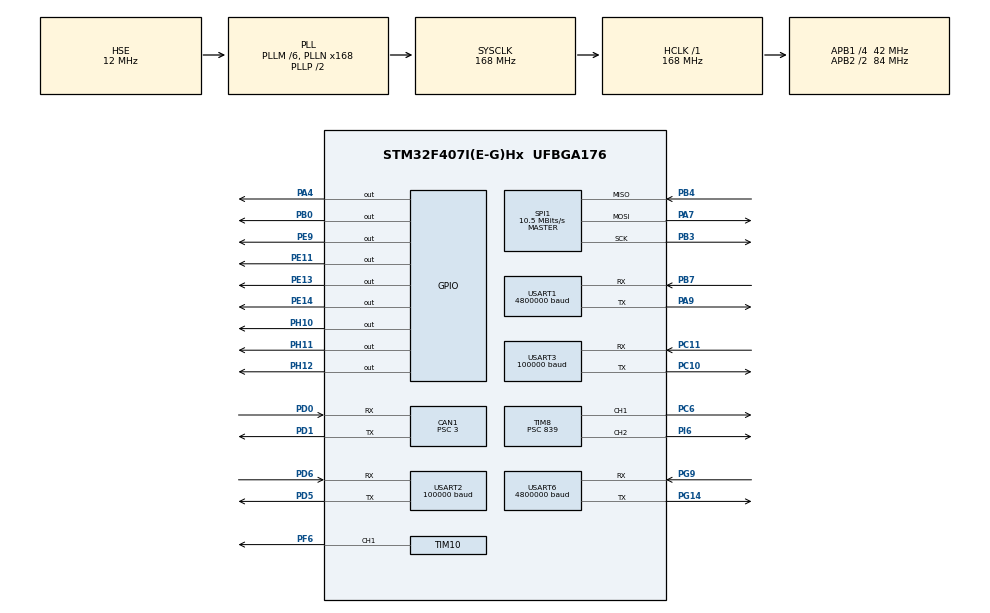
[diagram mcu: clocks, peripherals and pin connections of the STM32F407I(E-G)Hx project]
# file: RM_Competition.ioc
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CAN1.BS1=CAN_BS1_10TQ
CAN1.BS2=CAN_BS2_3TQ
CAN1.CalculateBaudRate=1000000
CAN1.CalculateTimeBit=1000
CAN1.CalculateTimeQuantum=71.42857142857143
CAN1.Prescaler=3
CAN1.SJW=CAN_SJW_2TQ
Dma.Request0=USART3_RX
Dma.Request1=USART2_RX
Dma.Request2=USART2_TX
Dma.Request3=USART1_RX
Dma.Request4=USART1_TX
Dma.Request5=USART6_RX
Dma.Request6=USART6_TX
Dma.Request7=SPI1_RX
Dma.Request8=SPI1_TX
Dma.SPI1_RX.7.Direction=DMA_PERIPH_TO_MEMORY
Dma.SPI1_RX.7.FIFOMode=DMA_FIFOMODE_DISABLE
Dma.SPI1_RX.7.Instance=DMA2_Stream2
Dma.SPI1_RX.7.MemDataAlignment=DMA_MDATAALIGN_BYTE
Dma.SPI1_RX.7.MemInc=DMA_MINC_ENABLE
Dma.SPI1_RX.7.Mode=DMA_NORMAL
Dma.SPI1_RX.7.PeriphDataAlignment=DMA_PDATAALIGN_BYTE
Dma.SPI1_RX.7.PeriphInc=DMA_PINC_DISABLE
Dma.SPI1_RX.7.Priority=DMA_PRIORITY_VERY_HIGH
Dma.SPI1_TX.8.Direction=DMA_MEMORY_TO_PERIPH
Dma.SPI1_TX.8.FIFOMode=DMA_FIFOMODE_DISABLE
Dma.SPI1_TX.8.Instance=DMA2_Stream3
Dma.SPI1_TX.8.MemDataAlignment=DMA_MDATAALIGN_BYTE
Dma.SPI1_TX.8.MemInc=DMA_MINC_ENABLE
Dma.SPI1_TX.8.Mode=DMA_NORMAL
Dma.SPI1_TX.8.PeriphDataAlignment=DMA_PDATAALIGN_BYTE
Dma.SPI1_TX.8.PeriphInc=DMA_PINC_DISABLE
Dma.SPI1_TX.8.Priority=DMA_PRIORITY_HIGH
Dma.USART1_RX.3.Direction=DMA_PERIPH_TO_MEMORY
Dma.USART1_RX.3.FIFOMode=DMA_FIFOMODE_DISABLE
Dma.USART1_RX.3.Instance=DMA2_Stream5
Dma.USART1_RX.3.MemDataAlignment=DMA_MDATAALIGN_BYTE
Dma.USART1_RX.3.MemInc=DMA_MINC_ENABLE
Dma.USART1_RX.3.Mode=DMA_NORMAL
Dma.USART1_RX.3.PeriphDataAlignment=DMA_PDATAALIGN_BYTE
Dma.USART1_RX.3.PeriphInc=DMA_PINC_DISABLE
Dma.USART1_RX.3.Priority=DMA_PRIORITY_LOW
Dma.USART1_TX.4.Direction=DMA_MEMORY_TO_PERIPH
Dma.USART1_TX.4.FIFOMode=DMA_FIFOMODE_DISABLE
Dma.USART1_TX.4.Instance=DMA2_Stream7
Dma.USART1_TX.4.MemDataAlignment=DMA_MDATAALIGN_BYTE
Dma.USART1_TX.4.MemInc=DMA_MINC_ENABLE
Dma.USART1_TX.4.Mode=DMA_NORMAL
Dma.USART1_TX.4.PeriphDataAlignment=DMA_PDATAALIGN_BYTE
Dma.USART1_TX.4.PeriphInc=DMA_PINC_DISABLE
Dma.USART1_TX.4.Priority=DMA_PRIORITY_MEDIUM
Dma.USART2_RX.1.Direction=DMA_PERIPH_TO_MEMORY
Dma.USART2_RX.1.FIFOMode=DMA_FIFOMODE_DISABLE
Dma.USART2_RX.1.Instance=DMA1_Stream5
Dma.USART2_RX.1.MemDataAlignment=DMA_MDATAALIGN_BYTE
Dma.USART2_RX.1.MemInc=DMA_MINC_ENABLE
Dma.USART2_RX.1.Mode=DMA_NORMAL
Dma.USART2_RX.1.PeriphDataAlignment=DMA_PDATAALIGN_BYTE
Dma.USART2_RX.1.PeriphInc=DMA_PINC_DISABLE
Dma.USART2_RX.1.Priority=DMA_PRIORITY_LOW
Dma.USART2_TX.2.Direction=DMA_MEMORY_TO_PERIPH
Dma.USART2_TX.2.FIFOMode=DMA_FIFOMODE_DISABLE
Dma.USART2_TX.2.Instance=DMA1_Stream6
Dma.USART2_TX.2.MemDataAlignment=DMA_MDATAALIGN_BYTE
Dma.USART2_TX.2.MemInc=DMA_MINC_ENABLE
Dma.USART2_TX.2.Mode=DMA_NORMAL
Dma.USART2_TX.2.PeriphDataAlignment=DMA_PDATAALIGN_BYTE
Dma.USART2_TX.2.PeriphInc=DMA_PINC_DISABLE
Dma.USART2_TX.2.Priority=DMA_PRIORITY_LOW
Dma.USART3_RX.0.Direction=DMA_PERIPH_TO_MEMORY
Dma.USART3_RX.0.FIFOMode=DMA_FIFOMODE_DISABLE
Dma.USART3_RX.0.Instance=DMA1_Stream1
Dma.USART3_RX.0.MemDataAlignment=DMA_MDATAALIGN_BYTE
Dma.USART3_RX.0.MemInc=DMA_MINC_ENABLE
Dma.USART3_RX.0.Mode=DMA_CIRCULAR
Dma.USART3_RX.0.PeriphDataAlignment=DMA_PDATAALIGN_BYTE
Dma.USART3_RX.0.PeriphInc=DMA_PINC_DISABLE
Dma.USART3_RX.0.Priority=DMA_PRIORITY_VERY_HIGH
Dma.USART6_RX.5.Direction=DMA_PERIPH_TO_MEMORY
Dma.USART6_RX.5.FIFOMode=DMA_FIFOMODE_DISABLE
Dma.USART6_RX.5.Instance=DMA2_Stream1
Dma.USART6_RX.5.MemDataAlignment=DMA_MDATAALIGN_BYTE
Dma.USART6_RX.5.MemInc=DMA_MINC_ENABLE
Dma.USART6_RX.5.Mode=DMA_NORMAL
Dma.USART6_RX.5.PeriphDataAlignment=DMA_PDATAALIGN_BYTE
Dma.USART6_RX.5.PeriphInc=DMA_PINC_DISABLE
Dma.USART6_RX.5.Priority=DMA_PRIORITY_LOW
Dma.USART6_TX.6.Direction=DMA_MEMORY_TO_PERIPH
Dma.USART6_TX.6.FIFOMode=DMA_FIFOMODE_DISABLE
Dma.USART6_TX.6.Instance=DMA2_Stream6
Dma.USART6_TX.6.MemDataAlignment=DMA_MDATAALIGN_BYTE
Dma.USART6_TX.6.MemInc=DMA_MINC_ENABLE
Dma.USART6_TX.6.Mode=DMA_NORMAL
Dma.USART6_TX.6.PeriphDataAlignment=DMA_PDATAALIGN_BYTE
Dma.USART6_TX.6.PeriphInc=DMA_PINC_DISABLE
Dma.USART6_TX.6.Priority=DMA_PRIORITY_MEDIUM
FREERTOS.BinarySemaphores01=DBUS_Sem,Dynamic,NULL,Available;CAN_Sem,Dynamic,NULL,Available;Shift_Sem,Dynamic,NULL,Available;Outage_Sem,Dynamic,NULL,Available;Chassis_Sem,Dynamic,NULL,Available;Pitch_Sem,Dynamic,NULL,Available
FREERTOS.Tasks01=defaultTask,24,128,StartDefaultTask,Default,NULL,Dynamic,NULL,NULL;DBUSTasK,8,128,StartDBUSTask,Default,NULL,Dynamic,NULL,NULL;CANTask,8,128,StartCANTask,Default,NULL,Dynamic,NULL,NULL;PIDTask,8,1024,StartPIDTask,Default,NULL,Dynamic,NULL,NULL;ShiftTask,8,128,StartShiftTask,Default,NULL,Dynamic,NULL,NULL;ChassisTask,8,128,StartChassisTask,Default,NULL,Dynamic,NULL,NULL;PitchTask,8,128,StartPitchTask,Default,NULL,Dynamic,NULL,NULL;OutageTask,8,128,StartOutageTask,Default,NULL,Dynamic,NULL,NULL;LEDTask,8,128,StartLEDTask,Default,NULL,Dynamic,NULL,NULL;IMUTask,8,1024,StartIMUTask,Default,NULL,Dynamic,NULL,NULL;SlideTask,8,128,StartSlideTask,Default,NULL,Dynamic,NULL,NULL;LiftTask,8,128,StartLiftTask,Default,NULL,Dynamic,NULL,NULL;DoorTask,8,128,StartDoorTask,Default,NULL,Dynamic,NULL,NULL
FREERTOS.configTOTAL_HEAP_SIZE=92160
FREERTOS.configUSE_NEWLIB_REENTRANT=1
Mcu.Family=STM32F4
Mcu.Name=STM32F407I(E-G)Hx
Mcu.Package=UFBGA176
NVIC.CAN1_RX0_IRQn=true\:5\:0\:false\:false\:true\:true\:true\:true\:true
NVIC.DMA1_Stream1_IRQn=true\:5\:0\:false\:false\:true\:true\:false\:true\:true
NVIC.DMA1_Stream5_IRQn=true\:5\:0\:false\:false\:true\:true\:false\:true\:true
NVIC.DMA1_Stream6_IRQn=true\:5\:0\:false\:false\:true\:true\:false\:true\:true
NVIC.DMA2_Stream1_IRQn=true\:5\:0\:false\:false\:true\:true\:false\:true\:true
NVIC.DMA2_Stream2_IRQn=true\:5\:0\:false\:false\:true\:false\:false\:true\:true
NVIC.DMA2_Stream3_IRQn=true\:5\:0\:false\:false\:true\:true\:false\:true\:true
NVIC.DMA2_Stream5_IRQn=true\:5\:0\:false\:false\:true\:false\:false\:true\:true
NVIC.DMA2_Stream6_IRQn=true\:5\:0\:false\:false\:true\:true\:false\:true\:true
NVIC.DMA2_Stream7_IRQn=true\:5\:0\:false\:false\:true\:true\:false\:true\:true
NVIC.PriorityGroup=NVIC_PRIORITYGROUP_4
NVIC.SPI1_IRQn=true\:5\:0\:false\:false\:true\:true\:true\:true\:true
NVIC.TIM7_IRQn=true\:15\:0\:false\:false\:true\:false\:false\:true\:true
NVIC.TimeBase=TIM7_IRQn
NVIC.TimeBaseIP=TIM7
NVIC.USART1_IRQn=true\:5\:0\:false\:false\:true\:true\:true\:true\:true
NVIC.USART2_IRQn=true\:5\:0\:false\:false\:true\:true\:true\:true\:true
NVIC.USART3_IRQn=true\:5\:0\:false\:false\:true\:true\:true\:true\:true
NVIC.USART6_IRQn=true\:5\:0\:false\:false\:true\:true\:true\:true\:true
PA13.Mode=Serial_Wire
PA13.Signal=SYS_JTMS-SWDIO
PA14.Mode=Serial_Wire
PA14.Signal=SYS_JTCK-SWCLK
PA4.PinState=GPIO_PIN_SET
PA4.Signal=GPIO_Output
PA7.GPIO_PuPd=GPIO_PULLUP
PA7.Mode=Full_Duplex_Master
PA7.Signal=SPI1_MOSI
PA9.Mode=Asynchronous
PA9.Signal=USART1_TX
PB0.PinState=GPIO_PIN_SET
PB0.Signal=GPIO_Output
PB3.GPIO_PuPd=GPIO_PULLUP
PB3.Mode=Full_Duplex_Master
PB3.Signal=SPI1_SCK
PB4.GPIO_PuPd=GPIO_PULLUP
PB4.Mode=Full_Duplex_Master
PB4.Signal=SPI1_MISO
PB7.Mode=Asynchronous
PB7.Signal=USART1_RX
PC10.Mode=Asynchronous
PC10.Signal=USART3_TX
PC11.Mode=Asynchronous
PC11.Signal=USART3_RX
PC6.GPIO_PuPd=GPIO_PULLUP
PC6.GPIO_Speed=GPIO_SPEED_FREQ_VERY_HIGH
PC6.Signal=S_TIM8_CH1
PD0.Mode=CAN_Activate
PD0.Signal=CAN1_RX
PD1.Mode=CAN_Activate
PD1.Signal=CAN1_TX
PD5.Mode=Asynchronous
PD5.Signal=USART2_TX
PD6.Mode=Asynchronous
PD6.Signal=USART2_RX
PE11.PinState=GPIO_PIN_SET
PE11.Signal=GPIO_Output
PE13.Signal=GPIO_Output
PE14.Signal=GPIO_Output
PE9.Signal=GPIO_Output
PF6.GPIO_PuPd=GPIO_PULLUP
PF6.GPIO_Speed=GPIO_SPEED_FREQ_HIGH
PF6.Signal=S_TIM10_CH1
PG14.Mode=Asynchronous
PG14.Signal=USART6_TX
PG9.Mode=Asynchronous
PG9.Signal=USART6_RX
PH0-OSC_IN.Mode=HSE-External-Oscillator
PH0-OSC_IN.Signal=RCC_OSC_IN
PH1-OSC_OUT.Mode=HSE-External-Oscillator
PH1-OSC_OUT.Signal=RCC_OSC_OUT
PH10.PinState=GPIO_PIN_SET
PH10.Signal=GPIO_Output
PH11.PinState=GPIO_PIN_SET
PH11.Signal=GPIO_Output
PH12.PinState=GPIO_PIN_SET
PH12.Signal=GPIO_Output
PI6.Signal=S_TIM8_CH2
ProjectManager.HeapSize=0x200
ProjectManager.StackSize=0x400
ProjectManager.TargetToolchain=STM32CubeIDE
RCC.48MHZClocksFreq_Value=84000000
RCC.AHBFreq_Value=168000000
RCC.APB1CLKDivider=RCC_HCLK_DIV4
RCC.APB1Freq_Value=42000000
RCC.APB1TimFreq_Value=84000000
RCC.APB2CLKDivider=RCC_HCLK_DIV2
RCC.APB2Freq_Value=84000000
RCC.APB2TimFreq_Value=168000000
RCC.CortexFreq_Value=168000000
RCC.HCLKFreq_Value=168000000
RCC.HSE_VALUE=12000000
RCC.HSI_VALUE=16000000
RCC.LSE_VALUE=32768
RCC.PLLM=6
RCC.PLLN=168
RCC.PLLSourceVirtual=RCC_PLLSOURCE_HSE
RCC.SYSCLKFreq_VALUE=168000000
RCC.SYSCLKSource=RCC_SYSCLKSOURCE_PLLCLK
RCC.VCOOutputFreq_Value=336000000
SH.S_TIM10_CH1.0=TIM10_CH1,PWM Generation1 CH1
SH.S_TIM8_CH1.0=TIM8_CH1,PWM Generation1 CH1
SH.S_TIM8_CH2.0=TIM8_CH2,PWM Generation2 CH2
SPI1.BaudRatePrescaler=SPI_BAUDRATEPRESCALER_8
SPI1.CLKPhase=SPI_PHASE_2EDGE
SPI1.CLKPolarity=SPI_POLARITY_HIGH
SPI1.CalculateBaudRate=10.5 MBits/s
SPI1.Direction=SPI_DIRECTION_2LINES
SPI1.Mode=SPI_MODE_MASTER
SPI1.VirtualType=VM_MASTER
TIM10.Channel=TIM_CHANNEL_1
TIM10.Period=1999
TIM10.Prescaler=83
TIM8.AutoReloadPreload=TIM_AUTORELOAD_PRELOAD_DISABLE
TIM8.Channel-PWM\ Generation1\ CH1=TIM_CHANNEL_1
TIM8.Channel-PWM\ Generation2\ CH2=TIM_CHANNEL_2
TIM8.CounterMode=TIM_COUNTERMODE_UP
TIM8.Period=9999
TIM8.Prescaler=839
TIM8.Pulse-PWM\ Generation1\ CH1=0
TIM8.Pulse-PWM\ Generation2\ CH2=0
USART1.BaudRate=4800000
USART1.VirtualMode=VM_ASYNC
USART2.BaudRate=100000
USART2.Parity=PARITY_EVEN
USART2.VirtualMode=VM_ASYNC
USART2.WordLength=WORDLENGTH_9B
USART3.BaudRate=100000
USART3.Parity=PARITY_EVEN
USART3.VirtualMode=VM_ASYNC
USART3.WordLength=WORDLENGTH_9B
USART6.BaudRate=4800000
USART6.VirtualMode=VM_ASYNC
VP_FREERTOS_VS_CMSIS_V2.Mode=CMSIS_V2
VP_SYS_VS_tim7.Mode=TIM7
VP_TIM10_VS_ClockSourceINT.Mode=Enable_Timer
VP_TIM8_VS_ClockSourceINT.Mode=Internal
board=custom

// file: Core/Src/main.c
/* USER CODE BEGIN Header */
/**
  ******************************************************************************
  * @file           : main.c
  * @brief          : Main program body
  ******************************************************************************
  * @attention
  *
  * Copyright (c) 2024 STMicroelectronics.
  * All rights reserved.
  *
  * This software is licensed under terms that can be found in the LICENSE file
  * in the root directory of this software component.
  * If no LICENSE file comes with this software, it is provided AS-IS.
  *
  ******************************************************************************
  */
/* USER CODE END Header */
#include "main.h"
#include "cmsis_os.h"
#include "can.h"
#include "dma.h"
#include "spi.h"
#include "tim.h"
#include "usart.h"
#include "gpio.h"

void SystemClock_Config(void);
void MX_FREERTOS_Init(void);

int main(void)
{

  /* MCU Configuration--------------------------------------------------------*/

  /* Reset of all peripherals, Initializes the Flash interface and the Systick. */
  HAL_Init();

  /* Configure the system clock */
  SystemClock_Config();

  /* Initialize all configured peripherals */
  MX_GPIO_Init();
  MX_DMA_Init();
  MX_USART3_UART_Init();
  MX_USART2_UART_Init();
  MX_CAN1_Init();
  MX_TIM8_Init();
  MX_USART1_UART_Init();
  MX_USART6_UART_Init();
  MX_SPI1_Init();
  MX_TIM10_Init();

  /* Init scheduler */
  osKernelInitialize();

  /* Call init function for freertos objects (in cmsis_os2.c) */
  MX_FREERTOS_Init();

  /* Start scheduler */
  osKernelStart();

  /* We should never get here as control is now taken by the scheduler */

  /* Infinite loop */
  while (1)
  {

  }
}

void SystemClock_Config(void)
{
  RCC_OscInitTypeDef RCC_OscInitStruct = {0};
  RCC_ClkInitTypeDef RCC_ClkInitStruct = {0};

  /** Configure the main internal regulator output voltage
  */
  __HAL_RCC_PWR_CLK_ENABLE();
  __HAL_PWR_VOLTAGESCALING_CONFIG(PWR_REGULATOR_VOLTAGE_SCALE1);

  /** Initializes the RCC Oscillators according to the specified parameters
  * in the RCC_OscInitTypeDef structure.
  */
  RCC_OscInitStruct.OscillatorType = RCC_OSCILLATORTYPE_HSE;
  RCC_OscInitStruct.HSEState = RCC_HSE_ON;
  RCC_OscInitStruct.PLL.PLLState = RCC_PLL_ON;
  RCC_OscInitStruct.PLL.PLLSource = RCC_PLLSOURCE_HSE;
  RCC_OscInitStruct.PLL.PLLM = 6;
  RCC_OscInitStruct.PLL.PLLN = 168;
  RCC_OscInitStruct.PLL.PLLP = RCC_PLLP_DIV2;
  RCC_OscInitStruct.PLL.PLLQ = 4;
  if (HAL_RCC_OscConfig(&RCC_OscInitStruct) != HAL_OK)
  {
    Error_Handler();
  }

  /** Initializes the CPU, AHB and APB buses clocks
  */
  RCC_ClkInitStruct.ClockType = RCC_CLOCKTYPE_HCLK|RCC_CLOCKTYPE_SYSCLK
                              |RCC_CLOCKTYPE_PCLK1|RCC_CLOCKTYPE_PCLK2;
  RCC_ClkInitStruct.SYSCLKSource = RCC_SYSCLKSOURCE_PLLCLK;
  RCC_ClkInitStruct.AHBCLKDivider = RCC_SYSCLK_DIV1;
  RCC_ClkInitStruct.APB1CLKDivider = RCC_HCLK_DIV4;
  RCC_ClkInitStruct.APB2CLKDivider = RCC_HCLK_DIV2;

  if (HAL_RCC_ClockConfig(&RCC_ClkInitStruct, FLASH_LATENCY_5) != HAL_OK)
  {
    Error_Handler();
  }
}

void HAL_TIM_PeriodElapsedCallback(TIM_HandleTypeDef *htim)
{
  if (htim->Instance == TIM7) {
    HAL_IncTick();
  }
}

void Error_Handler(void)
{
  __disable_irq();
  while (1)
  {
  }
}

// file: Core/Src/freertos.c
/* USER CODE BEGIN Header */
/**
  ******************************************************************************
  * File Name          : freertos.c
  * Description        : Code for freertos applications
  ******************************************************************************
  * @attention
  *
  * Copyright (c) 2024 STMicroelectronics.
  * All rights reserved.
  *
  * This software is licensed under terms that can be found in the LICENSE file
  * in the root directory of this software component.
  * If no LICENSE file comes with this software, it is provided AS-IS.
  *
  ******************************************************************************
  */
/* USER CODE END Header */

#include "FreeRTOS.h"
#include "task.h"
#include "main.h"
#include "cmsis_os.h"

/* USER CODE BEGIN Includes */
#include "usart.h"
#include "DBUS_Task.h"
#include "CAN_Task.h"
#include "PID_Task.h"
#include "Chassis_Task.h"
#include "Shift_Task.h"
#include "GM6020Ctrl.h"
#include "ChassisCtrl.h"
#include "M2006.h"
#include "Outage_Task.h"
#include "Door_Task.h"
#include "LED_Task.h"
#include "Pitch_Task.h"
#include "imu_task.h"
#include "Lift_Task.h"
#include "Slide_Task.h"
/* USER CODE END Includes */

/* Definitions for defaultTask */
osThreadId_t defaultTaskHandle;
const osThreadAttr_t defaultTask_attributes = {
  .name = "defaultTask",
  .stack_size = 128 * 4,
  .priority = (osPriority_t) osPriorityNormal,
};
/* Definitions for DBUSTasK */
osThreadId_t DBUSTasKHandle;
const osThreadAttr_t DBUSTasK_attributes = {
  .name = "DBUSTasK",
  .stack_size = 128 * 4,
  .priority = (osPriority_t) osPriorityLow,
};
/* Definitions for CANTask */
osThreadId_t CANTaskHandle;
const osThreadAttr_t CANTask_attributes = {
  .name = "CANTask",
  .stack_size = 128 * 4,
  .priority = (osPriority_t) osPriorityLow,
};
/* Definitions for PIDTask */
osThreadId_t PIDTaskHandle;
const osThreadAttr_t PIDTask_attributes = {
  .name = "PIDTask",
  .stack_size = 1024 * 4,
  .priority = (osPriority_t) osPriorityLow,
};
/* Definitions for ShiftTask */
osThreadId_t ShiftTaskHandle;
const osThreadAttr_t ShiftTask_attributes = {
  .name = "ShiftTask",
  .stack_size = 128 * 4,
  .priority = (osPriority_t) osPriorityLow,
};
/* Definitions for ChassisTask */
osThreadId_t ChassisTaskHandle;
const osThreadAttr_t ChassisTask_attributes = {
  .name = "ChassisTask",
  .stack_size = 128 * 4,
  .priority = (osPriority_t) osPriorityLow,
};
/* Definitions for PitchTask */
osThreadId_t PitchTaskHandle;
const osThreadAttr_t PitchTask_attributes = {
  .name = "PitchTask",
  .stack_size = 128 * 4,
  .priority = (osPriority_t) osPriorityLow,
};
/* Definitions for OutageTask */
osThreadId_t OutageTaskHandle;
const osThreadAttr_t OutageTask_attributes = {
  .name = "OutageTask",
  .stack_size = 128 * 4,
  .priority = (osPriority_t) osPriorityLow,
};
/* Definitions for LEDTask */
osThreadId_t LEDTaskHandle;
const osThreadAttr_t LEDTask_attributes = {
  .name = "LEDTask",
  .stack_size = 128 * 4,
  .priority = (osPriority_t) osPriorityLow,
};
/* Definitions for IMUTask */
osThreadId_t IMUTaskHandle;
const osThreadAttr_t IMUTask_attributes = {
  .name = "IMUTask",
  .stack_size = 1024 * 4,
  .priority = (osPriority_t) osPriorityLow,
};
/* Definitions for SlideTask */
osThreadId_t SlideTaskHandle;
const osThreadAttr_t SlideTask_attributes = {
  .name = "SlideTask",
  .stack_size = 128 * 4,
  .priority = (osPriority_t) osPriorityLow,
};
/* Definitions for LiftTask */
osThreadId_t LiftTaskHandle;
const osThreadAttr_t LiftTask_attributes = {
  .name = "LiftTask",
  .stack_size = 128 * 4,
  .priority = (osPriority_t) osPriorityLow,
};
/* Definitions for DoorTask */
osThreadId_t DoorTaskHandle;
const osThreadAttr_t DoorTask_attributes = {
  .name = "DoorTask",
  .stack_size = 128 * 4,
  .priority = (osPriority_t) osPriorityLow,
};
/* Definitions for DBUS_Sem */
osSemaphoreId_t DBUS_SemHandle;
const osSemaphoreAttr_t DBUS_Sem_attributes = {
  .name = "DBUS_Sem"
};
/* Definitions for CAN_Sem */
osSemaphoreId_t CAN_SemHandle;
const osSemaphoreAttr_t CAN_Sem_attributes = {
  .name = "CAN_Sem"
};
/* Definitions for Shift_Sem */
osSemaphoreId_t Shift_SemHandle;
const osSemaphoreAttr_t Shift_Sem_attributes = {
  .name = "Shift_Sem"
};
/* Definitions for Outage_Sem */
osSemaphoreId_t Outage_SemHandle;
const osSemaphoreAttr_t Outage_Sem_attributes = {
  .name = "Outage_Sem"
};
/* Definitions for Chassis_Sem */
osSemaphoreId_t Chassis_SemHandle;
const osSemaphoreAttr_t Chassis_Sem_attributes = {
  .name = "Chassis_Sem"
};
/* Definitions for Pitch_Sem */
osSemaphoreId_t Pitch_SemHandle;
const osSemaphoreAttr_t Pitch_Sem_attributes = {
  .name = "Pitch_Sem"
};

void StartDefaultTask(void *argument);
void StartDBUSTask(void *argument);
void StartCANTask(void *argument);
void StartPIDTask(void *argument);
void StartShiftTask(void *argument);
void StartChassisTask(void *argument);
void StartPitchTask(void *argument);
void StartOutageTask(void *argument);
void StartLEDTask(void *argument);
void StartIMUTask(void *argument);
void StartSlideTask(void *argument);
void StartLiftTask(void *argument);
void StartDoorTask(void *argument);

void MX_FREERTOS_Init(void); /* (MISRA C 2004 rule 8.1) */

void MX_FREERTOS_Init(void) {

  /* Create the semaphores(s) */
  /* creation of DBUS_Sem */
  DBUS_SemHandle = osSemaphoreNew(1, 1, &DBUS_Sem_attributes);

  /* creation of CAN_Sem */
  CAN_SemHandle = osSemaphoreNew(1, 1, &CAN_Sem_attributes);

  /* creation of Shift_Sem */
  Shift_SemHandle = osSemaphoreNew(1, 1, &Shift_Sem_attributes);

  /* creation of Outage_Sem */
  Outage_SemHandle = osSemaphoreNew(1, 1, &Outage_Sem_attributes);

  /* creation of Chassis_Sem */
  Chassis_SemHandle = osSemaphoreNew(1, 1, &Chassis_Sem_attributes);

  /* creation of Pitch_Sem */
  Pitch_SemHandle = osSemaphoreNew(1, 1, &Pitch_Sem_attributes);

  /* Create the thread(s) */
  /* creation of defaultTask */
  defaultTaskHandle = osThreadNew(StartDefaultTask, NULL, &defaultTask_attributes);

  /* creation of DBUSTasK */
  DBUSTasKHandle = osThreadNew(StartDBUSTask, NULL, &DBUSTasK_attributes);

  /* creation of CANTask */
  CANTaskHandle = osThreadNew(StartCANTask, NULL, &CANTask_attributes);

  /* creation of PIDTask */
  PIDTaskHandle = osThreadNew(StartPIDTask, NULL, &PIDTask_attributes);

  /* creation of ShiftTask */
  ShiftTaskHandle = osThreadNew(StartShiftTask, NULL, &ShiftTask_attributes);

  /* creation of ChassisTask */
  ChassisTaskHandle = osThreadNew(StartChassisTask, NULL, &ChassisTask_attributes);

  /* creation of PitchTask */
  PitchTaskHandle = osThreadNew(StartPitchTask, NULL, &PitchTask_attributes);

  /* creation of OutageTask */
  OutageTaskHandle = osThreadNew(StartOutageTask, NULL, &OutageTask_attributes);

  /* creation of LEDTask */
  LEDTaskHandle = osThreadNew(StartLEDTask, NULL, &LEDTask_attributes);

  /* creation of IMUTask */
  IMUTaskHandle = osThreadNew(StartIMUTask, NULL, &IMUTask_attributes);

  /* creation of SlideTask */
  SlideTaskHandle = osThreadNew(StartSlideTask, NULL, &SlideTask_attributes);

  /* creation of LiftTask */
  LiftTaskHandle = osThreadNew(StartLiftTask, NULL, &LiftTask_attributes);

  /* creation of DoorTask */
  DoorTaskHandle = osThreadNew(StartDoorTask, NULL, &DoorTask_attributes);

}

void StartDefaultTask(void *argument)
{
  for(;;)
  {
    osDelay(1);
  }
}

/* USER CODE BEGIN Header_StartDBUSTask */
/**
* @brief Function implementing the DBUSTasK thread.
* @param argument: Not used
* @retval None
*/
void HAL_UART_RxCpltCallback(UART_HandleTypeDef *huart)
{
  RemoteDataProcess(sbus_rx_buffer);
  osSemaphoreRelease(DBUS_SemHandle);
  if_start = true;//遥控器第�??次打�??
}
/* USER CODE END Header_StartDBUSTask */
void StartDBUSTask(void *argument)
{
  /* USER CODE BEGIN StartDBUSTask */
  osStatus_t DBUS_rx_return = osOK;
  DBUS_Init();
  /* Infinite loop */
  for(;;)
  {
    DBUS_rx_return = osSemaphoreAcquire(DBUS_SemHandle, osWaitForever);
    if(DBUS_rx_return == osOK)
    {
      DBUS_Task();
      osSemaphoreRelease(Pitch_SemHandle);
      osSemaphoreRelease(Chassis_SemHandle);
    }
    osDelay(1);
  }
  /* USER CODE END StartDBUSTask */
}

/* USER CODE BEGIN Header_StartCANTask */
/**
* @brief Function implementing the CANTask thread.
* @param argument: Not used
* @retval None
*/
void HAL_CAN_RxFifo0MsgPendingCallback(CAN_HandleTypeDef *hcan)
{
  HAL_CAN_GetRxMessage(hcan, CAN_RX_FIFO0, &CAN_rx_header, CAN_rx_data);
  switch (CAN_rx_header.StdId)
  {
    case 0x201:
    {
      Get_M2006_Measure(&M2006_measure[0],CAN_rx_data);
      break;
    }
    case 0x202:
    {
      Get_M2006_Measure(&M2006_measure[1],CAN_rx_data);
      break;
    }
    case 0x203:
    {
      Get_Motor_Measure(&motor_chassis[0],CAN_rx_data);
      break;
    }
    case 0x204:
    {
      Get_Motor_Measure(&motor_chassis[1],CAN_rx_data);
      break;
    }
    case 0x207:
    {
      Get_GM6020_Measure(&GM6020_measure,CAN_rx_data);
      break;
    }
  }
}
/* USER CODE END Header_StartCANTask */
void StartCANTask(void *argument)
{
  /* USER CODE BEGIN StartCANTask */
  /* Infinite loop */
  for(;;)
  {
    CAN_Task();
    osDelay(1);
  }
  /* USER CODE END StartCANTask */
}

void StartPIDTask(void *argument)
{
  /* USER CODE BEGIN StartPIDTask */
  PID_Task_Init();
  /* Infinite loop */
  for(;;)
  {
    PID_Task();
    osDelay(1);
  }
  /* USER CODE END StartPIDTask */
}

void StartShiftTask(void *argument)
{
  /* USER CODE BEGIN StartShiftTask */
  Shift_Task_Init();
  /* Infinite loop */
  for(;;)
  {
    Shift_Task();
    osDelay(1);
  }
  /* USER CODE END StartShiftTask */
}

void StartChassisTask(void *argument)
{
  /* USER CODE BEGIN StartChassisTask */
  osStatus_t chassis_return = osOK;
  /* Infinite loop */
  for(;;)
  {
    chassis_return = osSemaphoreAcquire(Chassis_SemHandle, osWaitForever);
    if(chassis_return == osOK)
    {
      Chassis_Task();
    }
    osDelay(1);
  }
  /* USER CODE END StartChassisTask */
}

void StartPitchTask(void *argument)
{
  /* USER CODE BEGIN StartPitchTask */
  osStatus_t pitch_return = osOK;
  Pitch_Task_Init();
  /* Infinite loop */
  for(;;)
  {
    pitch_return = osSemaphoreAcquire(Pitch_SemHandle, osWaitForever);
    if(pitch_return == osOK)
    {
      Pitch_Task();
    }
    osDelay(1);
  }
  /* USER CODE END StartPitchTask */
}

void StartOutageTask(void *argument)
{
  /* USER CODE BEGIN StartOutageTask */
  Outage_Task_Init();
  /* Infinite loop */
  for(;;)
  {
    Outage_Task();
    osDelay(1);
  }
  /* USER CODE END StartOutageTask */
}

void StartLEDTask(void *argument)
{
  /* USER CODE BEGIN StartLEDTask */
  LED_Task_Init();
  /* Infinite loop */
  for(;;)
  {
    LED_Task();
    osDelay(1);
  }
  /* USER CODE END StartLEDTask */
}

void StartIMUTask(void *argument)
{
  /* USER CODE BEGIN StartIMUTask */

  IMU_Init();
  /* Infinite loop */
  for(;;)
  {
    IMU_Task();
    osDelay(1);
  }
  /* USER CODE END StartIMUTask */
}

void StartSlideTask(void *argument)
{
  /* USER CODE BEGIN StartSlideTask */
  Slide_Task_Init();
  /* Infinite loop */
  for(;;)
  {
    Slide_Task();
    osDelay(1);
  }
  /* USER CODE END StartSlideTask */
}

void StartLiftTask(void *argument)
{
  /* USER CODE BEGIN StartLiftTask */
  /* Infinite loop */
  for(;;)
  {
    Lift_Task();
    osDelay(1);
  }
  /* USER CODE END StartLiftTask */
}

void StartDoorTask(void *argument)
{
  /* USER CODE BEGIN StartDoorTask */
  Door_Task_Init();
  /* Infinite loop */
  for(;;)
  {
    Door_Task();
    osDelay(1);
  }
  /* USER CODE END StartDoorTask */
}
